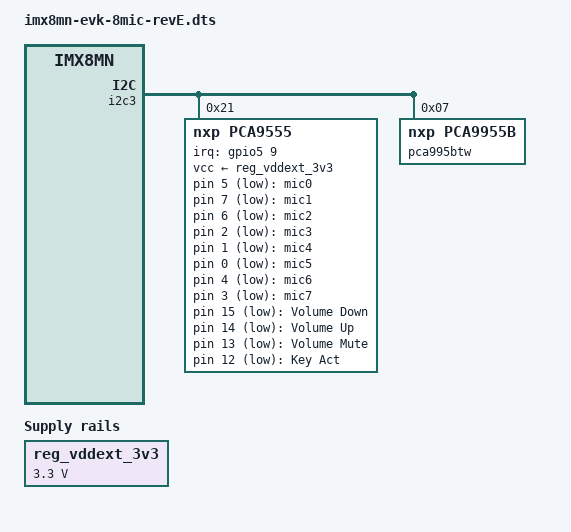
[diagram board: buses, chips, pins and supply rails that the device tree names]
// SPDX-License-Identifier: (GPL-2.0 OR MIT)
/*
 * Copyright 2020 NXP
 */

#include "imx8mn-evk.dts"

/ {
	mic_leds {
		compatible = "gpio-leds";
		mic0 {
			label = "mic0";
			gpios = <&pca9555 5 GPIO_ACTIVE_LOW>;
			default-state = "off";
		};
		mic1 {
			label = "mic1";
			gpios = <&pca9555 7 GPIO_ACTIVE_LOW>;
			default-state = "off";
		};
		mic2 {
			label = "mic2";
			gpios = <&pca9555 6 GPIO_ACTIVE_LOW>;
			default-state = "off";
		};
		mic3 {
			label = "mic3";
			gpios = <&pca9555 2 GPIO_ACTIVE_LOW>;
			default-state = "off";
		};
		mic4 {
			label = "mic4";
			gpios = <&pca9555 1 GPIO_ACTIVE_LOW>;
			default-state = "off";
		};
		mic5 {
			label = "mic5";
			gpios = <&pca9555 0 GPIO_ACTIVE_LOW>;
			default-state = "off";
		};
		mic6 {
			label = "mic6";
			gpios = <&pca9555 4 GPIO_ACTIVE_LOW>;
			default-state = "off";
		};
		mic7 {
			label = "mic7";
			gpios = <&pca9555 3 GPIO_ACTIVE_LOW>;
			default-state = "off";
		};
	};

	sw_keys {
		compatible = "gpio-keys";

		sw4: volume_down {
			label = "Volume Down";
			gpios = <&pca9555 15 GPIO_ACTIVE_LOW>;
			linux,code = <KEY_VOLUMEDOWN>;
			interrupt-parent = <&pca9555>;
			interrupts = <15 IRQ_TYPE_LEVEL_LOW>;
		};

		sw3: volume_up {
			label = "Volume Up";
			gpios = <&pca9555 14 GPIO_ACTIVE_LOW>;
			linux,code = <KEY_VOLUMEUP>;
			interrupt-parent = <&pca9555>;
			interrupts = <14 IRQ_TYPE_LEVEL_LOW>;
		};

		sw2: volume_mute {
			label = "Volume Mute";
			gpios = <&pca9555 13 GPIO_ACTIVE_LOW>;
			linux,code = <KEY_MUTE>;
			interrupt-parent = <&pca9555>;
			interrupts = <13 IRQ_TYPE_LEVEL_LOW>;
		};

		sw1: key_act {
			label = "Key Act";
			gpios = <&pca9555 12 GPIO_ACTIVE_LOW>;
			linux,code = <KEY_F9>;
			interrupt-parent = <&pca9555>;
			interrupts = <12 IRQ_TYPE_LEVEL_LOW>;
		};
	};

	reg_vddext_3v3: regulator-vddext {
		compatible = "regulator-fixed";
		regulator-name = "VDDEXT_3V3";
		regulator-min-microvolt = <3300000>;
		regulator-max-microvolt = <3300000>;
	};
};

&iomuxc {
	pinctrl_swpdm_mute_irq: swpdm_mute_grp {
		fsl,pins = <
			MX8MN_IOMUXC_ECSPI1_MISO_GPIO5_IO8	0x19
		>;
	};

	pinctrl_pushbutton_irq: pushbutton_grp {
		fsl,pins = <
			MX8MN_IOMUXC_ECSPI1_SS0_GPIO5_IO9	0x19
		>;
	};
};

&i2c3 {
	pca9555: gpio@21 {
		compatible = "nxp,pca9555";
		pinctrl-names = "default";
		pinctrl-0 = <&pinctrl_pushbutton_irq>;
		reg = <0x21>;
		gpio-controller;
		#gpio-cells = <2>;
		interrupt-controller;
		#interrupt-cells = <2>;
		interrupt-parent = <&gpio5>;
		interrupts = <9 IRQ_TYPE_LEVEL_LOW>;
		vcc-supply = <&reg_vddext_3v3>;
		status = "okay";
	};

	pca995btw: pca9955btw@7 {
		#address-cells = <1>;
		#size-cells = <0>;
		compatible = "nxp,pca9955b";
		reg = <0x07>;
		led@0 {
			label = "green0";
			linux,default-trigger = "none";
			reg = <0>;
		};

		led@1 {
			label = "blue0";
			linux,default-trigger = "none";
			reg = <1>;
		};

		led@2 {
			label = "red0";
			linux,default-trigger = "none";
			reg = <2>;
		};

		led@3 {
			label = "green1";
			linux,default-trigger = "none";
			reg = <3>;
		};

		led@4 {
			label = "blue1";
			linux,default-trigger = "none";
			reg = <4>;
		};

		led@5 {
			label = "red1";
			linux,default-trigger = "none";
			reg = <5>;
		};

		led@6 {
			label = "green2";
			linux,default-trigger = "none";
			reg = <6>;
		};

		led@7 {
			label = "blue2";
			linux,default-trigger = "none";
			reg = <7>;
		};

		led@8 {
			label = "red2";
			linux,default-trigger = "none";
			reg = <8>;
		};

		led@9 {
			label = "green3";
			linux,default-trigger = "none";
			reg = <9>;
		};

		led@10 {
			label = "blue3";
			linux,default-trigger = "none";
			reg = <10>;
		};

		led@11 {
			label = "red3";
			linux,default-trigger = "none";
			reg = <11>;
		};
	};
};

&uart3 {
	status = "disabled";
};
